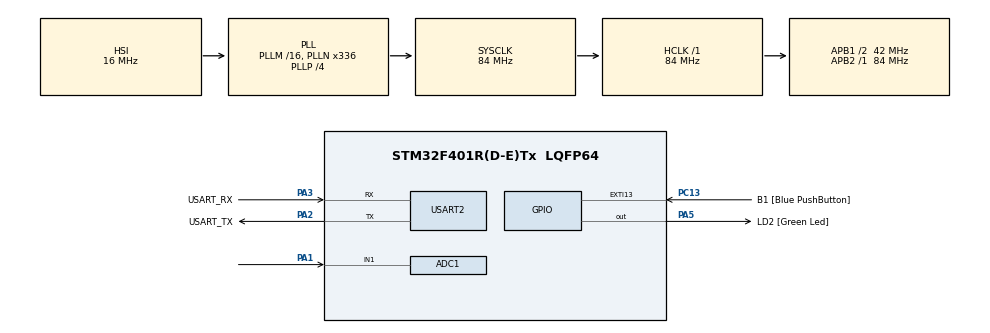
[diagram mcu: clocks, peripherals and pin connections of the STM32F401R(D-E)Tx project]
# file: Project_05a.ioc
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ADC1.Channel-0\#ChannelRegularConversion=ADC_CHANNEL_TEMPSENSOR
ADC1.Channel-1\#ChannelRegularConversion=ADC_CHANNEL_VREFINT
ADC1.Channel-2\#ChannelRegularConversion=ADC_CHANNEL_1
ADC1.ContinuousConvMode=ENABLE
ADC1.DMAContinuousRequests=ENABLE
ADC1.NbrOfConversion=3
ADC1.NbrOfConversionFlag=1
ADC1.Rank-0\#ChannelRegularConversion=1
ADC1.Rank-1\#ChannelRegularConversion=2
ADC1.Rank-2\#ChannelRegularConversion=3
ADC1.SamplingTime-0\#ChannelRegularConversion=ADC_SAMPLETIME_480CYCLES
ADC1.SamplingTime-1\#ChannelRegularConversion=ADC_SAMPLETIME_480CYCLES
ADC1.SamplingTime-2\#ChannelRegularConversion=ADC_SAMPLETIME_480CYCLES
ADC1.ScanConvMode=ENABLE
ADC1.master=1
Dma.ADC1.0.Direction=DMA_PERIPH_TO_MEMORY
Dma.ADC1.0.FIFOMode=DMA_FIFOMODE_DISABLE
Dma.ADC1.0.Instance=DMA2_Stream0
Dma.ADC1.0.MemDataAlignment=DMA_MDATAALIGN_HALFWORD
Dma.ADC1.0.MemInc=DMA_MINC_ENABLE
Dma.ADC1.0.Mode=DMA_CIRCULAR
Dma.ADC1.0.PeriphDataAlignment=DMA_PDATAALIGN_HALFWORD
Dma.ADC1.0.PeriphInc=DMA_PINC_DISABLE
Dma.ADC1.0.Priority=DMA_PRIORITY_HIGH
Dma.Request0=ADC1
Mcu.Family=STM32F4
Mcu.Name=STM32F401R(D-E)Tx
Mcu.Package=LQFP64
NVIC.ADC_IRQn=true\:0\:0\:false\:false\:true\:true\:true\:true
NVIC.DMA2_Stream0_IRQn=true\:0\:0\:false\:false\:true\:false\:true\:true
NVIC.PriorityGroup=NVIC_PRIORITYGROUP_0
NVIC.TIM2_IRQn=true\:0\:0\:false\:false\:true\:true\:true\:true
PA1.Signal=SharedAnalog_PA1
PA13.GPIO_Label=TMS
PA13.Mode=Serial_Wire
PA13.Signal=SYS_JTMS-SWDIO
PA14.GPIO_Label=TCK
PA14.Mode=Serial_Wire
PA14.Signal=SYS_JTCK-SWCLK
PA2.GPIO_Label=USART_TX
PA2.GPIO_Mode=GPIO_MODE_AF_PP
PA2.GPIO_PuPd=GPIO_NOPULL
PA2.GPIO_Speed=GPIO_SPEED_FREQ_LOW
PA2.Mode=Asynchronous
PA2.Signal=USART2_TX
PA3.GPIO_Label=USART_RX
PA3.GPIO_Mode=GPIO_MODE_AF_PP
PA3.GPIO_PuPd=GPIO_NOPULL
PA3.GPIO_Speed=GPIO_SPEED_FREQ_LOW
PA3.Mode=Asynchronous
PA3.Signal=USART2_RX
PA5.GPIO_Label=LD2 [Green Led]
PA5.GPIO_Mode=GPIO_MODE_OUTPUT_PP
PA5.GPIO_PuPd=GPIO_NOPULL
PA5.GPIO_Speed=GPIO_SPEED_FREQ_LOW
PA5.Signal=GPIO_Output
PB3.GPIO_Label=SWO
PB3.Signal=SYS_JTDO-SWO
PC13-ANTI_TAMP.GPIO_Label=B1 [Blue PushButton]
PC13-ANTI_TAMP.GPIO_ModeDefaultEXTI=GPIO_MODE_IT_FALLING
PC13-ANTI_TAMP.GPIO_PuPd=GPIO_NOPULL
PC13-ANTI_TAMP.Signal=GPXTI13
PC14-OSC32_IN.Mode=LSE-External-Oscillator
PC14-OSC32_IN.Signal=RCC_OSC32_IN
PC15-OSC32_OUT.Mode=LSE-External-Oscillator
PC15-OSC32_OUT.Signal=RCC_OSC32_OUT
PH0\ -\ OSC_IN.Mode=HSE-External-Clock-Source
PH0\ -\ OSC_IN.Signal=RCC_OSC_IN
PH1\ -\ OSC_OUT.Mode=HSE-External-Clock-Source
PH1\ -\ OSC_OUT.Signal=RCC_OSC_OUT
ProjectManager.HeapSize=0x200
ProjectManager.StackSize=0x400
ProjectManager.TargetToolchain=STM32CubeIDE
RCC.48MHZClocksFreq_Value=48000000
RCC.AHBFreq_Value=84000000
RCC.APB1CLKDivider=RCC_HCLK_DIV2
RCC.APB1Freq_Value=42000000
RCC.APB1TimFreq_Value=84000000
RCC.APB2Freq_Value=84000000
RCC.APB2TimFreq_Value=84000000
RCC.CortexFreq_Value=84000000
RCC.HCLKFreq_Value=84000000
RCC.HSE_VALUE=8000000
RCC.HSI_VALUE=16000000
RCC.PLLN=336
RCC.PLLP=RCC_PLLP_DIV4
RCC.PLLQ=7
RCC.SYSCLKFreq_VALUE=84000000
RCC.SYSCLKSource=RCC_SYSCLKSOURCE_PLLCLK
RCC.VCOOutputFreq_Value=336000000
SH.SharedAnalog_PA1.0=GPIO_Analog
SH.SharedAnalog_PA1.1=ADC1_IN1,IN1
TIM2.Period=9999
TIM2.Prescaler=8399
USART2.VirtualMode=VM_ASYNC
VP_ADC1_TempSens_Input.Mode=IN-TempSens
VP_ADC1_Vref_Input.Mode=IN-Vrefint
VP_TIM2_VS_ClockSourceINT.Mode=Internal
board=NUCLEO-F401RE

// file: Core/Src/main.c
/* USER CODE BEGIN Header */
/**
  ******************************************************************************
  * @file           : main.c
  * @brief          : Main program body
  ******************************************************************************
  * @attention
  *
  * Copyright (c) 2023 STMicroelectronics.
  * All rights reserved.
  *
  * This software is licensed under terms that can be found in the LICENSE file
  * in the root directory of this software component.
  * If no LICENSE file comes with this software, it is provided AS-IS.
  *
  ******************************************************************************
  */
/* USER CODE END Header */
#include "main.h"

/* USER CODE BEGIN Includes */
#define THERMOMETER_V25 0.76
#define THERMOMETER_AVG_SLOPE 2.5
#define THERMOMETER_PLUS 25
/* USER CODE END Includes */

ADC_HandleTypeDef hadc1;
DMA_HandleTypeDef hdma_adc1;

TIM_HandleTypeDef htim2;

UART_HandleTypeDef huart2;

/* USER CODE BEGIN PV */
uint16_t res[6];
_Bool half_full=0;
_Bool full=0;
/* USER CODE END PV */

void SystemClock_Config(void);
static void MX_GPIO_Init(void);
static void MX_DMA_Init(void);
static void MX_USART2_UART_Init(void);
static void MX_ADC1_Init(void);
static void MX_TIM2_Init(void);

/* USER CODE BEGIN 0 */
void HAL_TIM_PeriodElapsedCallback(TIM_HandleTypeDef* htim){
	if(half_full==1){
		  char string[64];
		  float voltage = res[2]*3.3/4096.0;
		  float tempFloat = res[0]*3.3/4096.0; // Convert to Voltage before converting to Celsius
	 	  tempFloat = (tempFloat-THERMOMETER_V25)/THERMOMETER_AVG_SLOPE+THERMOMETER_PLUS;
		  float vref = res[1]*3.3/4096.0;
	 	  int length = snprintf(string, sizeof(string),"Temp:%.3f Vref:%.3f Pot:%.3f\r\n",tempFloat, vref, voltage);
		  HAL_UART_Transmit(&huart2,string,length,100);
		  half_full=0;
	}
	if(full==1){
		  char string[64];
		  float voltage = res[5]*3.3/4096.0;
		  float tempFloat = res[3]*3.3/4096.0; // Convert to Voltage before converting to Celsius
	 	  tempFloat = (tempFloat-THERMOMETER_V25)/THERMOMETER_AVG_SLOPE+THERMOMETER_PLUS;
	 	  float vref = res[4]*3.3/4096.0;
	 	  int length = snprintf(string, sizeof(string),"Temp:%.3f Vref:%.3f Pot:%.3f\r\n",tempFloat, vref, voltage);
		  HAL_UART_Transmit(&huart2,string,length,100);
		  full=0;
	}

}
void HAL_ADC_ConvHalfCpltCallback(ADC_HandleTypeDef* hadc)
{
	half_full=1;
	full=0;
}

void HAL_ADC_ConvCpltCallback(ADC_HandleTypeDef* hadc)
{
	full=1;
	half_full=0;
}
/* USER CODE END 0 */

int main(void)
{

  /* MCU Configuration--------------------------------------------------------*/

  /* Reset of all peripherals, Initializes the Flash interface and the Systick. */
  HAL_Init();

  /* Configure the system clock */
  SystemClock_Config();

  /* Initialize all configured peripherals */
  MX_GPIO_Init();
  MX_DMA_Init();
  MX_USART2_UART_Init();
  MX_ADC1_Init();
  MX_TIM2_Init();
  /* USER CODE BEGIN 2 */
  HAL_TIM_Base_Start_IT(&htim2);
  HAL_ADC_Start_DMA(&hadc1,(uint32_t*) res, 6);
  /* USER CODE END 2 */

  /* Infinite loop */
  while (1)
  {

  }
}

void SystemClock_Config(void)
{
  RCC_OscInitTypeDef RCC_OscInitStruct = {0};
  RCC_ClkInitTypeDef RCC_ClkInitStruct = {0};

  /** Configure the main internal regulator output voltage
  */
  __HAL_RCC_PWR_CLK_ENABLE();
  __HAL_PWR_VOLTAGESCALING_CONFIG(PWR_REGULATOR_VOLTAGE_SCALE2);

  /** Initializes the RCC Oscillators according to the specified parameters
  * in the RCC_OscInitTypeDef structure.
  */
  RCC_OscInitStruct.OscillatorType = RCC_OSCILLATORTYPE_HSI;
  RCC_OscInitStruct.HSIState = RCC_HSI_ON;
  RCC_OscInitStruct.HSICalibrationValue = RCC_HSICALIBRATION_DEFAULT;
  RCC_OscInitStruct.PLL.PLLState = RCC_PLL_ON;
  RCC_OscInitStruct.PLL.PLLSource = RCC_PLLSOURCE_HSI;
  RCC_OscInitStruct.PLL.PLLM = 16;
  RCC_OscInitStruct.PLL.PLLN = 336;
  RCC_OscInitStruct.PLL.PLLP = RCC_PLLP_DIV4;
  RCC_OscInitStruct.PLL.PLLQ = 7;
  if (HAL_RCC_OscConfig(&RCC_OscInitStruct) != HAL_OK)
  {
    Error_Handler();
  }

  /** Initializes the CPU, AHB and APB buses clocks
  */
  RCC_ClkInitStruct.ClockType = RCC_CLOCKTYPE_HCLK|RCC_CLOCKTYPE_SYSCLK
                              |RCC_CLOCKTYPE_PCLK1|RCC_CLOCKTYPE_PCLK2;
  RCC_ClkInitStruct.SYSCLKSource = RCC_SYSCLKSOURCE_PLLCLK;
  RCC_ClkInitStruct.AHBCLKDivider = RCC_SYSCLK_DIV1;
  RCC_ClkInitStruct.APB1CLKDivider = RCC_HCLK_DIV2;
  RCC_ClkInitStruct.APB2CLKDivider = RCC_HCLK_DIV1;

  if (HAL_RCC_ClockConfig(&RCC_ClkInitStruct, FLASH_LATENCY_2) != HAL_OK)
  {
    Error_Handler();
  }
}

static void MX_ADC1_Init(void)
{

  ADC_ChannelConfTypeDef sConfig = {0};

  /** Configure the global features of the ADC (Clock, Resolution, Data Alignment and number of conversion)
  */
  hadc1.Instance = ADC1;
  hadc1.Init.ClockPrescaler = ADC_CLOCK_SYNC_PCLK_DIV4;
  hadc1.Init.Resolution = ADC_RESOLUTION_12B;
  hadc1.Init.ScanConvMode = ENABLE;
  hadc1.Init.ContinuousConvMode = ENABLE;
  hadc1.Init.DiscontinuousConvMode = DISABLE;
  hadc1.Init.ExternalTrigConvEdge = ADC_EXTERNALTRIGCONVEDGE_NONE;
  hadc1.Init.ExternalTrigConv = ADC_SOFTWARE_START;
  hadc1.Init.DataAlign = ADC_DATAALIGN_RIGHT;
  hadc1.Init.NbrOfConversion = 3;
  hadc1.Init.DMAContinuousRequests = ENABLE;
  hadc1.Init.EOCSelection = ADC_EOC_SINGLE_CONV;
  if (HAL_ADC_Init(&hadc1) != HAL_OK)
  {
    Error_Handler();
  }

  /** Configure for the selected ADC regular channel its corresponding rank in the sequencer and its sample time.
  */
  sConfig.Channel = ADC_CHANNEL_TEMPSENSOR;
  sConfig.Rank = 1;
  sConfig.SamplingTime = ADC_SAMPLETIME_480CYCLES;
  if (HAL_ADC_ConfigChannel(&hadc1, &sConfig) != HAL_OK)
  {
    Error_Handler();
  }

  /** Configure for the selected ADC regular channel its corresponding rank in the sequencer and its sample time.
  */
  sConfig.Channel = ADC_CHANNEL_VREFINT;
  sConfig.Rank = 2;
  if (HAL_ADC_ConfigChannel(&hadc1, &sConfig) != HAL_OK)
  {
    Error_Handler();
  }

  /** Configure for the selected ADC regular channel its corresponding rank in the sequencer and its sample time.
  */
  sConfig.Channel = ADC_CHANNEL_1;
  sConfig.Rank = 3;
  if (HAL_ADC_ConfigChannel(&hadc1, &sConfig) != HAL_OK)
  {
    Error_Handler();
  }

}

static void MX_TIM2_Init(void)
{

  TIM_ClockConfigTypeDef sClockSourceConfig = {0};
  TIM_MasterConfigTypeDef sMasterConfig = {0};

  htim2.Instance = TIM2;
  htim2.Init.Prescaler = 8399;
  htim2.Init.CounterMode = TIM_COUNTERMODE_UP;
  htim2.Init.Period = 9999;
  htim2.Init.ClockDivision = TIM_CLOCKDIVISION_DIV1;
  htim2.Init.AutoReloadPreload = TIM_AUTORELOAD_PRELOAD_DISABLE;
  if (HAL_TIM_Base_Init(&htim2) != HAL_OK)
  {
    Error_Handler();
  }
  sClockSourceConfig.ClockSource = TIM_CLOCKSOURCE_INTERNAL;
  if (HAL_TIM_ConfigClockSource(&htim2, &sClockSourceConfig) != HAL_OK)
  {
    Error_Handler();
  }
  sMasterConfig.MasterOutputTrigger = TIM_TRGO_RESET;
  sMasterConfig.MasterSlaveMode = TIM_MASTERSLAVEMODE_DISABLE;
  if (HAL_TIMEx_MasterConfigSynchronization(&htim2, &sMasterConfig) != HAL_OK)
  {
    Error_Handler();
  }

}

static void MX_USART2_UART_Init(void)
{

  huart2.Instance = USART2;
  huart2.Init.BaudRate = 115200;
  huart2.Init.WordLength = UART_WORDLENGTH_8B;
  huart2.Init.StopBits = UART_STOPBITS_1;
  huart2.Init.Parity = UART_PARITY_NONE;
  huart2.Init.Mode = UART_MODE_TX_RX;
  huart2.Init.HwFlowCtl = UART_HWCONTROL_NONE;
  huart2.Init.OverSampling = UART_OVERSAMPLING_16;
  if (HAL_UART_Init(&huart2) != HAL_OK)
  {
    Error_Handler();
  }

}

static void MX_DMA_Init(void)
{

  /* DMA controller clock enable */
  __HAL_RCC_DMA2_CLK_ENABLE();

  /* DMA interrupt init */
  /* DMA2_Stream0_IRQn interrupt configuration */
  HAL_NVIC_SetPriority(DMA2_Stream0_IRQn, 0, 0);
  HAL_NVIC_EnableIRQ(DMA2_Stream0_IRQn);

}

static void MX_GPIO_Init(void)
{
  GPIO_InitTypeDef GPIO_InitStruct = {0};

  /* GPIO Ports Clock Enable */
  __HAL_RCC_GPIOC_CLK_ENABLE();
  __HAL_RCC_GPIOH_CLK_ENABLE();
  __HAL_RCC_GPIOA_CLK_ENABLE();
  __HAL_RCC_GPIOB_CLK_ENABLE();

  /*Configure GPIO pin Output Level */
  HAL_GPIO_WritePin(LD2_GPIO_Port, LD2_Pin, GPIO_PIN_RESET);

  /*Configure GPIO pin : B1_Pin */
  GPIO_InitStruct.Pin = B1_Pin;
  GPIO_InitStruct.Mode = GPIO_MODE_IT_FALLING;
  GPIO_InitStruct.Pull = GPIO_NOPULL;
  HAL_GPIO_Init(B1_GPIO_Port, &GPIO_InitStruct);

  /*Configure GPIO pin : LD2_Pin */
  GPIO_InitStruct.Pin = LD2_Pin;
  GPIO_InitStruct.Mode = GPIO_MODE_OUTPUT_PP;
  GPIO_InitStruct.Pull = GPIO_NOPULL;
  GPIO_InitStruct.Speed = GPIO_SPEED_FREQ_LOW;
  HAL_GPIO_Init(LD2_GPIO_Port, &GPIO_InitStruct);

}

void Error_Handler(void)
{
  __disable_irq();
  while (1)
  {
  }
}
